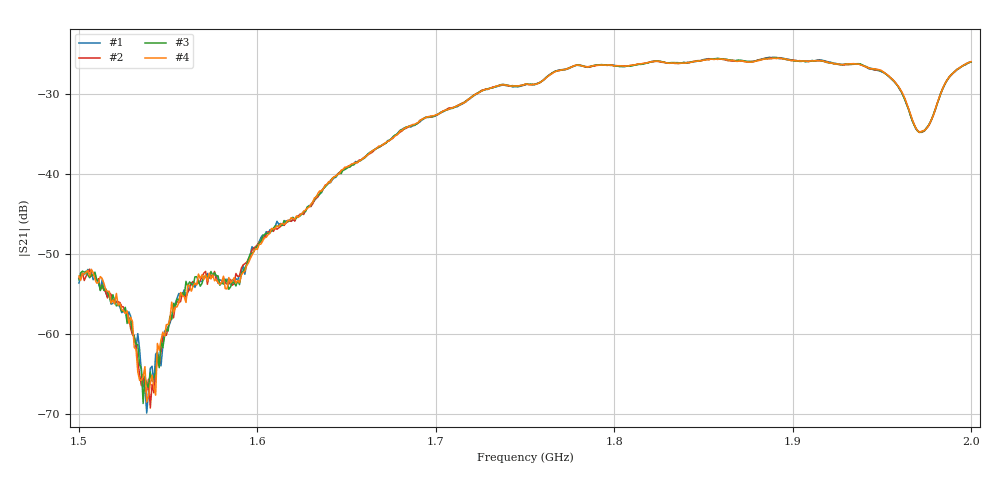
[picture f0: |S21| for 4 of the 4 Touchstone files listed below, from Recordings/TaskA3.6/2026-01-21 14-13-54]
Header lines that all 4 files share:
! NanoVNA-App by SYSJOINT et al v1.1.209 (+OD18)
! Start: 1,5GHz Stop: 2GHz Points: 501
! S-Parameter data: F S11 S21 S12 S22
# Hz S RI R 50
!  Frequency  S11_Real  S11_Imag  S21_Real  S21_Imag  S12_Real  S12_Imag  S22_Real  S22_Imag
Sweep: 1.5 GHz to 2 GHz
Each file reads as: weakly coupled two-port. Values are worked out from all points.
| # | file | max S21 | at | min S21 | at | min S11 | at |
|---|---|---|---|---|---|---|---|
| 1 | 0.s2p | -25.41 dB | 1.887 GHz | -69.9 dB | 1.538 GHz | -29.8 dB | 1.817 GHz |
| 2 | 1.s2p | -25.45 dB | 1.891 GHz | -69.2 dB | 1.54 GHz | -29.5 dB | 1.816 GHz |
| 3 | 2.s2p | -25.49 dB | 1.891 GHz | -68.7 dB | 1.536 GHz | -29.8 dB | 1.816 GHz |
| 4 | 3.s2p | -25.52 dB | 1.892 GHz | -68.5 dB | 1.538 GHz | -29.6 dB | 1.816 GHz |
